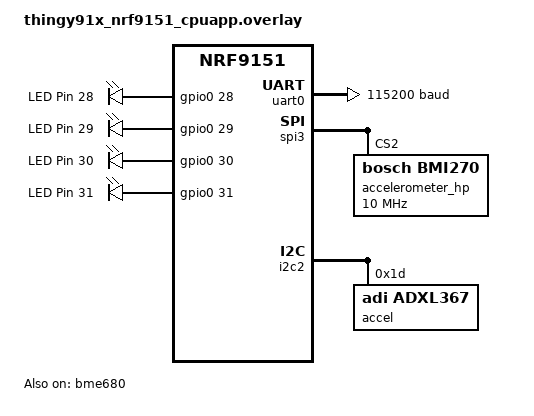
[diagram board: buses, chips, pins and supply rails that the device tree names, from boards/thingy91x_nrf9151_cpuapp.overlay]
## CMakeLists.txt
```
cmake_minimum_required(VERSION 3.20.0)
find_package(Zephyr REQUIRED HINTS $ENV{ZEPHYR_BASE})
project(BLE_NRF9151)
# FILE(GLOB app_sources src/*.c)

# Clean simple main for nRF5340 binary protocol
# target_sources(app PRIVATE src/main_clean.c)
# NORDIC SDK APP START
# target_sources(app PRIVATE ${app_sources})

# target_sources(app PRIVATE src/gps_coap.c)
target_sources(app PRIVATE src/mqtt_connection.c)
target_sources(app PRIVATE src/main_clean.c)
# NORDIC SDK APP END
```

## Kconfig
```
menu "Zephyr"
source "Kconfig.zephyr"
endmenu

config APP_TRIGGER
	bool "Print sensor values on trigger"
	default y


config MQTT_PUB_TOPIC
	string "MQTT publish topic"
	default "devacademy/publish/topic"

config MQTT_SUB_TOPIC
	string "MQTT subscribe topic"
	default "devacademy/subscribe/topic"

config MQTT_CLIENT_ID
	string "MQTT Client ID"
	help
	  Use a custom Client ID string. If not set, the client ID will be
	  generated based on IMEI number (for nRF91 Series based targets) or
	  randomly (for other platforms).
	default ""

config MQTT_BROKER_HOSTNAME
	string "MQTT broker hostname"
	default "mqtt.nordicsemi.academy"

config MQTT_BROKER_PORT
	int "MQTT broker port"
	default 1883

config MQTT_MESSAGE_BUFFER_SIZE
	int "MQTT message buffer size"
	default 128

config MQTT_PAYLOAD_BUFFER_SIZE
	int "MQTT payload buffer size"
	default 128

config BUTTON_EVENT_PUBLISH_MSG
	string "The message to publish on a button event"
	default "Hi from nRF91 Series device"

config TURN_LED_ON_CMD
	string "Command to turn on LED"
	default "LED1ON"

config TURN_LED_OFF_CMD
	string "Command to turn off LED"
	default "LED1OFF"

config BUTTON_EVENT_BTN_NUM
	int "The button number"
	default 1

config MQTT_RECONNECT_DELAY_S
	int "Seconds to delay before attempting to reconnect to the broker."
	default 60

config MQTT_TLS_SEC_TAG
	int "TLS credentials security tag"
	default 24

config MQTT_TLS_SESSION_CACHING
	bool "Enable TLS session caching"

config MQTT_TLS_PEER_VERIFY
	int "Set peer verification level"
	default 2
	help
		Set to 0 for VERIFY_NONE, 1 for VERIFY_OPTIONAL, and 2 for
		VERIFY_REQUIRED.

config MQTT_PUB_TOPIC_BME680
    string "MQTT publish topic for BME680"
    default "devacademy/publish/bme680"

config MQTT_PUB_TOPIC_BMI270
    string "MQTT publish topic for BMI270"
    default "devacademy/publish/bmi270"

config MQTT_SUB_TOPIC_BME680
    string "MQTT subscribe topic for BME680"
    default "devacademy/subscribe/bme680"

config MQTT_SUB_TOPIC_BMI270
    string "MQTT subscribe topic for BMI270"
    default "devacademy/subscribe/bmi270"

# * GPS

config TRACKER_VERSION_MAJOR
	int "Major verison number"
	default 0

config TRACKER_VERSION_MINOR
	int "Minor verison number"
	default 2

config TRACKER_VERSION_PATCH
	int "Patch verison number"
	default 1

config COAP_DEVICE_NAME
	string "Device resource name - this will be the device name on the CoAP server"
	default "cali.test.nrf91"

config COAP_POST_RESOURCE
	string "Parent CoAP resource - this is the parent resource of your device resource name"
	default "echo"

config COAP_SERVER_HOSTNAME
	string "CoAP server hostname"
	default "californium.eclipseprojects.io"

config COAP_SERVER_PORT
	int "CoAP server port"
	default 5684
	
config COAP_SERVER_PSK
	string "Server PSK"
	default "2e666f726e69756d"

config TRACKER_PERIODIC_INTERVAL
	int "Fix interval for periodic GPS fixes. This determines your tracking frequency"
	range 10 65535
	default 120
	help
	  Fix interval (in seconds) for periodic fixes.

config TRACKER_PERIODIC_TIMEOUT
	int "Fix timeout for periodic GPS fixes"
	range 0 65535
	default 600
	help
	  Fix timeout (in seconds) for periodic fixes.
	  If set to zero, GNSS is allowed to run indefinitely until a valid PVT estimate is produced.

config GNSS_LOW_ACCURACY
	bool "Allow low accuracy fixes."
	help
	  Helps with faster fixes.GNSS demonstrates a looser acceptance criterion for a fix.

config GNSS_HIGH_ACCURACY_TIMING_SOURCE
	bool "Use Crystal oscillator"
	help
	  Use crystal oscillator (TCXO) timing source for the GNSS interface 
	  instead of the default Real time clock (RTC).TCXO has higher power consumption than RTC

module = APP
module-str = APP
source "subsys/logging/Kconfig.template.log_config"
```

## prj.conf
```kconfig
# Simple configuration for nRF9151 LED test
CONFIG_GPIO=y
CONFIG_SERIAL=y
CONFIG_UART_INTERRUPT_DRIVEN=y
CONFIG_LOG=y

# MCUboot configuration required for Thingy:91 X
CONFIG_BOOTLOADER_MCUBOOT=y

# * BME680 sensor configuration - using standard Zephyr driver
CONFIG_SENSOR=y
CONFIG_SENSOR_INFO=y
CONFIG_BME680=y
# CONFIG_BME68X_IAQ=y  # Not available in standard driver

# Settings - Used to store real-time device configuration to flash.
CONFIG_SETTINGS=y
CONFIG_SETTINGS_FCB=y
CONFIG_FCB=y
CONFIG_FLASH=y
CONFIG_FLASH_PAGE_LAYOUT=y
CONFIG_FLASH_MAP=y
CONFIG_STREAM_FLASH=y
CONFIG_MPU_ALLOW_FLASH_WRITE=y

CONFIG_CONSOLE=y
CONFIG_ASSERT=y
CONFIG_REBOOT=y
CONFIG_FPU=y

# Newlib
CONFIG_NEWLIB_LIBC=y

# Memory
CONFIG_MAIN_STACK_SIZE=16384
CONFIG_HEAP_MEM_POOL_SIZE=16384

# Logging configuration
CONFIG_APP_LOG_LEVEL_INF=y

# Basic I/O
CONFIG_STDOUT_CONSOLE=y
CONFIG_I2C=y

# Core + console
CONFIG_SPI=y
CONFIG_UART_CONSOLE=y
CONFIG_PRINTK=y

# Sensors
CONFIG_ADXL367=y
CONFIG_BMI270=y
CONFIG_SENSOR_LOG_LEVEL_INF=y

# Toolchain / libc
CONFIG_CPP=y
CONFIG_GLIBCXX_LIBCPP=y
CONFIG_NEWLIB_LIBC_FLOAT_PRINTF=y

# Drivers
CONFIG_I2C_NRFX=y
CONFIG_SPI_NRFX=y
CONFIG_GPIO_NRFX=y

# * MQTT configuration

# Button and LED support
CONFIG_DK_LIBRARY=y

# Networking
CONFIG_NETWORKING=y
CONFIG_NET_NATIVE=n
CONFIG_NET_SOCKETS=y
CONFIG_NET_SOCKETS_OFFLOAD=y
CONFIG_POSIX_API=y

CONFIG_SYSTEM_WORKQUEUE_STACK_SIZE=8192


# # MQTT/TLS buffers (maximizados para HiveMQ Cloud sobre TLS)
CONFIG_MQTT_MESSAGE_BUFFER_SIZE=4096
CONFIG_MQTT_PAYLOAD_BUFFER_SIZE=4096

# Modem library
CONFIG_NRF_MODEM_LIB=y

# STEP 2.3 - Enable the modem key management library
CONFIG_MODEM_KEY_MGMT=y

# LTE link control
CONFIG_LTE_LINK_CONTROL=y
CONFIG_LTE_NETWORK_MODE_LTE_M_NBIOT=y

# # MQTT
CONFIG_MQTT_LIB=y
CONFIG_MQTT_CLEAN_SESSION=y
# STEP 2.1 - Enable TLS for the MQTT library
CONFIG_MQTT_LIB_TLS=y

# # Application
CONFIG_MQTT_PUB_TOPIC="devacademy/publish/topic"
CONFIG_MQTT_SUB_TOPIC="devacademy/subscribe/topic"
CONFIG_MQTT_PUB_TOPIC_BME680="devacademy/publish/bme680"
CONFIG_MQTT_PUB_TOPIC_BMI270="devacademy/publish/bmi270"
CONFIG_MQTT_SUB_TOPIC_BME680="devacademy/subscribe/bme680"
CONFIG_MQTT_SUB_TOPIC_BMI270="devacademy/subscribe/bmi270"
CONFIG_BUTTON_EVENT_PUBLISH_MSG="Hi from nRF91 Series device"
CONFIG_MQTT_BROKER_HOSTNAME="348a449ebec442358d59a2eb048341c4.s1.eu.hivemq.cloud"
# STEP 2.2 - Change the MQTT broker port
CONFIG_MQTT_BROKER_PORT=8883
CONFIG_MQTT_CLIENT_ID="SUPERSSS_CLIENT_ID"

# * GPS/CoAP configuration

# LTE link control
CONFIG_LTE_NETWORK_MODE_LTE_M_NBIOT_GPS=y
CONFIG_LTE_LC_EDRX_MODULE=y
CONFIG_LTE_LC_PSM_MODULE=y

# AT commands interface
CONFIG_AT_HOST_LIBRARY=n

# CoAP
CONFIG_COAP=y

# Configuración para enviar datos a coap://34.10.144.44:5683/
CONFIG_COAP_SERVER_HOSTNAME="34.10.144.44"
CONFIG_COAP_SERVER_PORT=5683
CONFIG_COAP_POST_RESOURCE=""
CONFIG_COAP_DEVICE_NAME="cellfund-test"
```

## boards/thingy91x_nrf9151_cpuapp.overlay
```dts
/*
 * Device Tree Overlay for nRF9151 LED Control
 * Trying different pins for LED - P0.28, P0.29, P0.30, P0.31
 */

/ {
    aliases {
        led0 = &led0;
        led1 = &led1;  
        led2 = &led2;
        led3 = &led3;
    };
    
    leds {
        compatible = "gpio-leds";
        led0: led_0 {
            gpios = <&gpio0 28 GPIO_ACTIVE_HIGH>;
            label = "LED Pin 28";
        };
        led1: led_1 {
            gpios = <&gpio0 29 GPIO_ACTIVE_HIGH>;
            label = "LED Pin 29";
        };
        led2: led_2 {
            gpios = <&gpio0 30 GPIO_ACTIVE_HIGH>;
            label = "LED Pin 30";
        };
        led3: led_3 {
            gpios = <&gpio0 31 GPIO_ACTIVE_HIGH>;
            label = "LED Pin 31";
        };
    };
};

/* UART0 configuration for nRF5340 communication */
&uart0 {
    status = "okay";
    current-speed = <115200>;
};

/* Disable other UARTs to avoid conflicts */
&uart1 {
    status = "disabled";
};

&uart2 {
    status = "disabled";
};

/* GPIO configuration */
&gpio0 {
    status = "okay";
};

&bme680 {
        status = "okay";
};

&pinctrl {
    spi3_bmi270_default: spi3_bmi270_default {
        group1 {
            psels = <
                NRF_PSEL(SPIM_SCK,  0, 14)
                NRF_PSEL(SPIM_MOSI, 0, 13)
                NRF_PSEL(SPIM_MISO, 0, 12)
            >;
        };
    };

    spi3_bmi270_sleep: spi3_bmi270_sleep {
        group1 {
            psels = <
                NRF_PSEL(SPIM_SCK,  0, 14)
                NRF_PSEL(SPIM_MOSI, 0, 13)
                NRF_PSEL(SPIM_MISO, 0, 12)
            >;
            low-power-enable;
        };
    };
};

&spi3 {
    accelerometer_hp: bmi270@2 {
            compatible = "bosch,bmi270";
            status = "okay";
            reg = <2>;
            spi-max-frequency = <DT_FREQ_M(10)>;
        };
};

/* keep the on-board ADXL367 on I²C2 “as is” ----------------------------- */
&i2c2 {
    accel: accelerometer_lp: adxl367@1d {
        status     = "okay";
        compatible = "adi,adxl367";
        reg        = <0x1d>;
        odr        = <3>;
    };
};
```

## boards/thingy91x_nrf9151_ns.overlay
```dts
/*
 * Device Tree Overlay for nRF9151 LED Control + BME680 Sensor
 */

/ {
    aliases {
        led0 = &led0;
    };
    
    leds {
        compatible = "gpio-leds";
        led0: led_0 {
            gpios = <&gpio0 29 GPIO_ACTIVE_HIGH>;
            label = "LED Pin 29";
        };
    };
};

/* UART0 configuration for nRF5340 communication */
&uart0 {
    status = "okay";
    current-speed = <115200>;
};

/* BME680 sensor - exactly like the working example */
&bme680 {
    status = "okay";
};


&pinctrl {
    spi3_bmi270_default: spi3_bmi270_default {
        group1 {
            psels = <
                NRF_PSEL(SPIM_SCK,  0, 14)
                NRF_PSEL(SPIM_MOSI, 0, 13)
                NRF_PSEL(SPIM_MISO, 0, 12)
            >;
        };
    };

    spi3_bmi270_sleep: spi3_bmi270_sleep {
        group1 {
            psels = <
                NRF_PSEL(SPIM_SCK,  0, 14)
                NRF_PSEL(SPIM_MOSI, 0, 13)
                NRF_PSEL(SPIM_MISO, 0, 12)
            >;
            low-power-enable;
        };
    };
};

&spi3 {
    accelerometer_hp: bmi270@2 {
            compatible = "bosch,bmi270";
            status = "okay";
            reg = <2>;
            spi-max-frequency = <DT_FREQ_M(10)>;
        };
};

/* keep the on-board ADXL367 on I²C2 “as is” ----------------------------- */
&i2c2 {
    accel: accelerometer_lp: adxl367@1d {
        status     = "okay";
        compatible = "adi,adxl367";
        reg        = <0x1d>;
        odr        = <3>;
    };
};
```

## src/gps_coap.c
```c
#include <stdio.h>
#include <string.h>
#include <ncs_version.h>
#include <zephyr/kernel.h>
#include <zephyr/net/coap.h>
#include <zephyr/net/socket.h>
#include <modem/nrf_modem_lib.h>
#include <modem/lte_lc.h>
#include <zephyr/net/tls_credentials.h>
#include <modem/modem_key_mgmt.h>
#include <dk_buttons_and_leds.h>
#include <nrf_modem_gnss.h>

#include <zephyr/random/random.h>

#include "gps_coap.h"
#include <zephyr/logging/log.h>
LOG_MODULE_REGISTER(gps_coap, LOG_LEVEL_INF);
// Definitions for GNSS & CoAP globals
int sock;
struct sockaddr_storage server;
uint16_t next_token;
K_SEM_DEFINE(gnss_fix_sem, 0, 1);
uint8_t coap_buf[APP_COAP_MAX_MSG_LEN];
uint8_t coap_sendbuf[64];
struct nrf_modem_gnss_pvt_data_frame current_pvt;
struct nrf_modem_gnss_pvt_data_frame last_pvt;
enum tracker_status device_status;
bool test_mode = true;

static void print_fix_data(struct nrf_modem_gnss_pvt_data_frame *pvt_data)
void print_fix_data(struct nrf_modem_gnss_pvt_data_frame *pvt_data)
{
	printk("Latitude:       %.06f\n", pvt_data->latitude);
	printk("Longitude:      %.06f\n", pvt_data->longitude);
	printk("Altitude:       %.01f m\n", (double)pvt_data->altitude);
	printk("Time (UTC):     %02u:%02u:%02u.%03u\n",
		   pvt_data->datetime.hour,
		   pvt_data->datetime.minute,
		   pvt_data->datetime.seconds,
		   pvt_data->datetime.ms);
}

static void gnss_event_handler(int event)
void gnss_event_handler(int event)
{
	int err;
	switch (event) {
	case NRF_MODEM_GNSS_EVT_PVT:
		LOG_INF("Searching for GNSS Satellites....\n\r");
		device_status = status_searching;
		break;
	case NRF_MODEM_GNSS_EVT_FIX:
		LOG_INF("GNSS fix event\n\r");
		break;
	case NRF_MODEM_GNSS_EVT_PERIODIC_WAKEUP:
		LOG_INF("GNSS woke up in periodic mode\n\r");
		break;
	case NRF_MODEM_GNSS_EVT_BLOCKED:
		LOG_INF("GNSS is blocked by LTE event\n\r");
		break;
	case NRF_MODEM_GNSS_EVT_SLEEP_AFTER_FIX:
		LOG_INF("GNSS enters sleep because fix was achieved in periodic mode\n\r");
		device_status = status_fixed;
		err = nrf_modem_gnss_read(&last_pvt, sizeof(last_pvt), NRF_MODEM_GNSS_DATA_PVT);
		if (err == 0){
			current_pvt = last_pvt;
			print_fix_data(&current_pvt);
			k_sem_give(&gnss_fix_sem);
		}
		break;
	case NRF_MODEM_GNSS_EVT_SLEEP_AFTER_TIMEOUT:
		LOG_INF("GNSS enters sleep because fix retry timeout was reached\n\r");
		break;

	default:

		break;
	}
}

static int gnss_init_and_start(void)
int gnss_init_and_start(void)
{
#if defined(CONFIG_GNSS_HIGH_ACCURACY_TIMING_SOURCE)
	if (nrf_modem_gnss_timing_source_set(NRF_MODEM_GNSS_TIMING_SOURCE_TCXO)){
		LOG_ERR("Failed to set TCXO timing source");
		return -1;
	}
#endif
#if defined(CONFIG_GNSS_LOW_ACCURACY) || defined (CONFIG_BOARD_THINGY91_NRF9160_NS)
	uint8_t use_case;
	use_case = NRF_MODEM_GNSS_USE_CASE_MULTIPLE_HOT_START | NRF_MODEM_GNSS_USE_CASE_LOW_ACCURACY;
	if (nrf_modem_gnss_use_case_set(use_case) != 0) {
		LOG_ERR("Failed to set low accuracy use case");
		return -1;
	}
#endif
	/* Configure GNSS event handler . */
	if (nrf_modem_gnss_event_handler_set(gnss_event_handler) != 0) {
		LOG_ERR("Failed to set GNSS event handler");
		return -1;
	}

	if (nrf_modem_gnss_fix_interval_set(CONFIG_TRACKER_PERIODIC_INTERVAL) != 0) {
		LOG_ERR("Failed to set GNSS fix interval");
		return -1;
	}

	if (nrf_modem_gnss_fix_retry_set(CONFIG_TRACKER_PERIODIC_TIMEOUT) != 0) {
		LOG_ERR("Failed to set GNSS fix retry");
		return -1;
	}

	if (nrf_modem_gnss_start() != 0) {
		LOG_ERR("Failed to start GNSS");
		return -1;
	}
	if (nrf_modem_gnss_prio_mode_enable() != 0){
		LOG_ERR("Error setting GNSS priority mode");
		return -1;
	}
	return 0;
}

/**@brief Resolves the configured hostname. */
static int server_resolve(void)
int server_resolve(void)
{
	int err;
	struct addrinfo *result;
	struct addrinfo hints = {
		.ai_family = AF_INET,
		.ai_socktype = SOCK_DGRAM
	};
	char ipv4_addr[NET_IPV4_ADDR_LEN];

	err = getaddrinfo(CONFIG_COAP_SERVER_HOSTNAME, NULL, &hints, &result);
	if (err != 0) {
		LOG_ERR("ERROR: getaddrinfo failed %d\n", err);
		return -EIO;
	}

	if (result == NULL) {
		LOG_ERR("ERROR: Address not found\n");
		return -ENOENT;
	}

	/* IPv4 Address. */
	struct sockaddr_in *server4 = ((struct sockaddr_in *)&server);

	server4->sin_addr.s_addr =
		((struct sockaddr_in *)result->ai_addr)->sin_addr.s_addr;
	server4->sin_family = AF_INET;
	server4->sin_port = htons(CONFIG_COAP_SERVER_PORT);

	inet_ntop(AF_INET, &server4->sin_addr.s_addr, ipv4_addr,
		  sizeof(ipv4_addr));
	LOG_INF("IPv4 Address found %s\n", ipv4_addr);

	/* Free the address. */
	freeaddrinfo(result);

	return 0;
}

/**@brief Initialize the CoAP client */
static int server_connect(void)
int server_connect(void)
{
	int err;

	// sock = socket(AF_INET, SOCK_DGRAM, IPPROTO_DTLS_1_2);

	sock = socket(AF_INET, SOCK_DGRAM, IPPROTO_UDP);
	if (sock < 0) {
		LOG_ERR("Failed to create CoAP socket: %d.\n", errno);
		return -errno;
	}


   // Skipping connect() for UDP offloaded socket as not supported; will use sendto()

	/* Randomize token. */
	next_token = sys_rand32_get();

	return 0;
}

/**@brief Handles responses from the remote CoAP server. */
static int client_handle_get_response(uint8_t *buf, int received)
int client_handle_get_response(uint8_t *buf, int received)
{
	int err;
	struct coap_packet reply;
	const uint8_t *payload;
	uint16_t payload_len;
	uint8_t token[8];
	uint16_t token_len;
	static uint8_t temp_buf[128];

	err = coap_packet_parse(&reply, buf, received, NULL, 0);
	if (err < 0) {
		LOG_ERR("Malformed response received: %d\n", err);
		return err;
	}

	payload = coap_packet_get_payload(&reply, &payload_len);
	token_len = coap_header_get_token(&reply, token);

	if ((token_len != sizeof(next_token)) ||
		(memcmp(&next_token, token, sizeof(next_token)) != 0)) {
		LOG_ERR("Invalid token received: 0x%02x%02x\n",
			   token[1], token[0]);
		return 0;
	}

	if (payload_len > 0) {
		snprintf(temp_buf, MIN(payload_len + 1, sizeof(temp_buf)), "%s", payload);
	} else {
		strcpy(temp_buf, "EMPTY");
	}

	LOG_INF("CoAP response: Code 0x%x, Token 0x%02x%02x, Payload: %s",
		   coap_header_get_code(&reply), token[1], token[0], temp_buf);
	return 0;
}

static void lte_handler(const struct lte_lc_evt *const evt)
{
	switch (evt->type) {
	case LTE_LC_EVT_NW_REG_STATUS:
		if ((evt->nw_reg_status != LTE_LC_NW_REG_REGISTERED_HOME) &&
			 (evt->nw_reg_status != LTE_LC_NW_REG_REGISTERED_ROAMING)) {
			break;
		}

		LOG_INF("Network registration status: %s\n",
			evt->nw_reg_status == LTE_LC_NW_REG_REGISTERED_HOME ?
			"Connected - home network" : "Connected - roaming\n");
		k_sem_give(&lte_connected);
		break;
	case LTE_LC_EVT_PSM_UPDATE:
		LOG_INF("PSM parameter update: TAU: %d, Active time: %d\n",
			evt->psm_cfg.tau, evt->psm_cfg.active_time);
		break;
	case LTE_LC_EVT_EDRX_UPDATE: {
		char log_buf[60];
		ssize_t len;

		len = snprintf(log_buf, sizeof(log_buf),
				   "eDRX parameter update: eDRX: %f, PTW: %f\n",
				   (double)evt->edrx_cfg.edrx, (double)evt->edrx_cfg.ptw);
		if (len > 0) {
			LOG_INF("%s\n", log_buf);
		}
		break;
	}
	case LTE_LC_EVT_RRC_UPDATE:
		LOG_INF("RRC mode: %s\n",
			evt->rrc_mode == LTE_LC_RRC_MODE_CONNECTED ?
			"Connected" : "Idle\n");
		break;
	case LTE_LC_EVT_CELL_UPDATE:
		LOG_INF("LTE cell changed: Cell ID: %d, Tracking area: %d\n",
			   evt->cell.id, evt->cell.tac);
		break;
	default:
		break;
	}
}


static int modem_configure(void)
{
	int err;

	LOG_INF("Initializing modem library");

	err = nrf_modem_lib_init();
	if (err) {
		LOG_ERR("Failed to initialize the modem library, error: %d", err);
		return err;
	}

	err = modem_key_mgmt_write(SEC_TAG, MODEM_KEY_MGMT_CRED_TYPE_IDENTITY, CONFIG_COAP_DEVICE_NAME, strlen(CONFIG_COAP_DEVICE_NAME));
	if (err) {
		LOG_ERR("Failed to write identity: %d\n", err);
		return err;
	}

	err = modem_key_mgmt_write(SEC_TAG, MODEM_KEY_MGMT_CRED_TYPE_PSK, CONFIG_COAP_SERVER_PSK, strlen(CONFIG_COAP_SERVER_PSK));
	if (err) {
		LOG_ERR("Failed to write identity: %d\n", err);
		return err;
	}

	
	LOG_INF("Connecting to LTE network");
	err = lte_lc_connect_async(lte_handler);
	if (err) {
		LOG_ERR("Error in lte_lc_connect_async, error: %d", err);
		return err;
	}


	/* Decativate LTE and enable GNSS. */
	err = lte_lc_func_mode_set(LTE_LC_FUNC_MODE_DEACTIVATE_LTE);
	if (err) {
		LOG_ERR("Failed to decativate LTE and enable GNSS functional mode");
		return err;
	}

	return 0;
}


static int client_post_send(void)
int client_post_send(void)
{
	int err, ret;
	struct coap_packet request;

	next_token++;

	err = coap_packet_init(&request, coap_buf, sizeof(coap_buf),
				   APP_COAP_VERSION, COAP_TYPE_CON,
				   sizeof(next_token), (uint8_t *)&next_token,
				   COAP_METHOD_POST, coap_next_id());
	if (err < 0) {
		LOG_ERR("Failed to create CoAP request, %d\n", err);
		return err;
	}

	err = coap_packet_append_option(&request, COAP_OPTION_URI_PATH,
					(uint8_t *)CONFIG_COAP_POST_RESOURCE,
					strlen(CONFIG_COAP_POST_RESOURCE));
	if (err < 0) {
		LOG_ERR("Failed to encode CoAP option, %d\n", err);
		return err;
	}

   err = coap_append_option_int(&request, COAP_OPTION_CONTENT_FORMAT,
								COAP_CONTENT_FORMAT_TEXT_PLAIN);
   if (err < 0) {
	  LOG_ERR("Failed to encode CoAP CONTENT_FORMAT option, %d", err);
	  return err;
   }

   err = coap_packet_append_option(&request, COAP_OPTION_URI_QUERY,
								   (uint8_t *)"keep",
								   strlen("keep"));
   if (err < 0) {
	  LOG_ERR("Failed to encode CoAP URI-QUERY option 'keep', %d", err);
	  return err;
   }

	err = coap_packet_append_payload_marker(&request);
	if (err < 0) {
		LOG_ERR("Failed to append payload marker, %d\n", err);
		return err;
	}

   if (test_mode) {
	   // Payload falso para pruebas
	   const char *fake_payload = "19.123456,-99.123456\n5.0 m\n2025-07-29 14:23:45";
	   ret = strlen(fake_payload);
	   memcpy(coap_sendbug, fake_payload, ret+1);
   } else {
	   ret = snprintf(coap_sendbug, sizeof(coap_sendbug), "%.06f,%.06f\n%.01f m\n%04u-%02u-%02u %02u:%02u:%02u",
		   current_pvt.latitude, current_pvt.longitude, (double)current_pvt.accuracy,
		   current_pvt.datetime.year, current_pvt.datetime.month, current_pvt.datetime.day,
		   current_pvt.datetime.hour, current_pvt.datetime.minute, last_pvt.datetime.seconds);
	   if (ret < 0) {
		   LOG_ERR("snprintf failed to format string, %d\n", ret);
		   return ret;
	   }
   }
   err = coap_packet_append_payload(&request, (uint8_t *)coap_sendbug, ret);
   if (err < 0) {
	   LOG_ERR("Failed to append payload, %d\n", err);
	   return err;
   }

	// Enviar con sendto para UDP offloaded: especificar dirección destino
	err = sendto(sock, request.data, request.offset, 0,
				 (struct sockaddr *)&server, sizeof(struct sockaddr_in));
	if (err < 0) {
		LOG_ERR("Failed to send CoAP request, %d\n", errno);
		return -errno;
	}

	LOG_INF("CoAP request sent: token 0x%04x\n", next_token);

	return 0;
}
static void button_handler(uint32_t button_state, uint32_t has_changed)
{
	static bool toogle = 1;
	if (has_changed & DK_BTN1_MSK && button_state & DK_BTN1_MSK) {
		if (toogle == 1) {
			dk_set_led_on(device_status);
		} 
		else {
			dk_set_led_off(DK_LED1);
			dk_set_led_off(DK_LED2);
			dk_set_led_off(DK_LED3);
		}
		toogle = !toogle;
	}
}
```

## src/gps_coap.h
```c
#ifndef GPS_COAP_H
#define GPS_COAP_H

// GNSS & CoAP Integration
#include <zephyr/net/coap.h>
#include <zephyr/net/tls_credentials.h>
#include <modem/modem_key_mgmt.h>
#include <nrf_modem_gnss.h>

#define SEC_TAG 12
#define APP_COAP_SEND_INTERVAL_MS 60000
#define APP_COAP_MAX_MSG_LEN 1280
#define APP_COAP_VERSION 1

/* GNSS & CoAP globals declared in source */
extern int sock;
extern struct sockaddr_storage server;
extern uint16_t next_token;
extern struct k_sem gnss_fix_sem;
extern uint8_t coap_buf[APP_COAP_MAX_MSG_LEN];
extern uint8_t coap_sendbuf[64];
extern struct nrf_modem_gnss_pvt_data_frame current_pvt;
extern struct nrf_modem_gnss_pvt_data_frame last_pvt;
extern enum tracker_status {status_nolte = DK_LED1, status_searching = DK_LED2, status_fixed = DK_LED3} device_status;

/* GNSS & CoAP function prototypes */
void print_fix_data(struct nrf_modem_gnss_pvt_data_frame *pvt_data);
void gnss_event_handler(int event);
int gnss_init_and_start(void);
int server_resolve(void);
int server_connect(void);
int client_handle_get_response(uint8_t *buf, int received);
int client_post_send(void);

// Variable para activar/desactivar el modo de prueba (true = payload falso, false = comportamiento normal)
extern bool test_mode;

#endif // GPS_COAP_H
```

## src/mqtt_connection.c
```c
#include <stdio.h>
#include <string.h>
#include <ncs_version.h>

#include <zephyr/logging/log.h>
#include <zephyr/kernel.h>
#include <zephyr/net/socket.h>
#include <zephyr/net/mqtt.h>
#include <nrf_modem_at.h>

#include <dk_buttons_and_leds.h>
#include "mqtt_connection.h"

#include <zephyr/random/random.h>
#include <modem/modem_key_mgmt.h>
#include "certificate.h"

#if NCS_VERSION_NUMBER < 0x20600
#include <zephyr/random/rand32.h>
#else 
#include <zephyr/random/random.h>
#endif

static uint8_t rx_buffer[CONFIG_MQTT_MESSAGE_BUFFER_SIZE];
static uint8_t tx_buffer[CONFIG_MQTT_MESSAGE_BUFFER_SIZE];
static uint8_t payload_buf[CONFIG_MQTT_PAYLOAD_BUFFER_SIZE];

static struct sockaddr_storage broker;

LOG_MODULE_DECLARE(nrf91);

static void clean_modem_certs(void) {
    int err = modem_key_mgmt_delete(CONFIG_MQTT_TLS_SEC_TAG, MODEM_KEY_MGMT_CRED_TYPE_CA_CHAIN);
    if (err) {
        LOG_WRN("Error deleting old CA cert: %d", err);
    } else {
        LOG_INF("Old CA cert deleted");
    }
}

int certificate_provision(void)
{
    int err = 0;
    bool exists;
    clean_modem_certs();
    err = modem_key_mgmt_exists(CONFIG_MQTT_TLS_SEC_TAG,
                                MODEM_KEY_MGMT_CRED_TYPE_CA_CHAIN,
                                &exists);
    if (err) {
        LOG_ERR("Failed to check for certificates err %d\n", err);
        return err;
    }
    if (exists) {
        err = modem_key_mgmt_cmp(CONFIG_MQTT_TLS_SEC_TAG,
                                 MODEM_KEY_MGMT_CRED_TYPE_CA_CHAIN,
                                 CA_CERTIFICATE, 
                                 strlen(CA_CERTIFICATE));
        LOG_INF("Comparing credentials: %s", err ? "Mismatch" : "Match");
        if (!err) {
            return 0;
        }
    }
    LOG_INF("Provisioning certificates");
    err = modem_key_mgmt_write(CONFIG_MQTT_TLS_SEC_TAG,
                               MODEM_KEY_MGMT_CRED_TYPE_CA_CHAIN,
                               CA_CERTIFICATE,
                               strlen(CA_CERTIFICATE));
    if (err) {
        LOG_ERR("Failed to provision CA certificate: %d", err);
        return err;
    }
    return err;
}

static int get_received_payload(struct mqtt_client *c, size_t length)
{
    int ret;
    int err = 0;
    if (length > sizeof(payload_buf)) {
        err = -EMSGSIZE;
    }
    while (length > sizeof(payload_buf)) {
        ret = mqtt_read_publish_payload_blocking(
                c, payload_buf, (length - sizeof(payload_buf)));
        if (ret == 0) {
            return -EIO;
        } else if (ret < 0) {
            return ret;
        }
        length -= ret;
    }
    ret = mqtt_readall_publish_payload(c, payload_buf, length);
    if (ret) {
        return ret;
    }
    return err;
}

static int subscribe(struct mqtt_client *const c)
{
    struct mqtt_topic topics[2] = {
        {
            .topic = {
                .utf8 = CONFIG_MQTT_SUB_TOPIC_BME680,
                .size = strlen(CONFIG_MQTT_SUB_TOPIC_BME680)
            },
            .qos = MQTT_QOS_1_AT_LEAST_ONCE
        },
        {
            .topic = {
                .utf8 = CONFIG_MQTT_SUB_TOPIC_BMI270,
                .size = strlen(CONFIG_MQTT_SUB_TOPIC_BMI270)
            },
            .qos = MQTT_QOS_1_AT_LEAST_ONCE
        }
    };
    const struct mqtt_subscription_list subscription_list = {
        .list = topics,
        .list_count = 2,
        .message_id = 1234
    };
    LOG_INF("Subscribing to: %s and %s", topics[0].topic.utf8, topics[1].topic.utf8);
    return mqtt_subscribe(c, &subscription_list);
}

static void data_print(uint8_t *prefix, uint8_t *data, size_t len)
{
    char buf[len + 1];
    memcpy(buf, data, len);
    buf[len] = 0;
    LOG_INF("%s%s", (char *)prefix, (char *)buf);
}

int data_publish(struct mqtt_client *c, enum mqtt_qos qos,
    uint8_t *data, size_t len, const char *topic)
{
    struct mqtt_publish_param param;
    param.message.topic.qos = qos;
    param.message.topic.topic.utf8 = (char *)topic;
    param.message.topic.topic.size = strlen(topic);
    param.message.payload.data = data;
    param.message.payload.len = len;
    param.message_id = sys_rand32_get();
    param.dup_flag = 0;
    param.retain_flag = 0;
    data_print("Publishing: ", data, len);
    LOG_INF("to topic: %s len: %u", topic, (unsigned int)strlen(topic));
    return mqtt_publish(c, &param);
}

void mqtt_evt_handler(struct mqtt_client *const c,
              const struct mqtt_evt *evt)
{
    int err;
    switch (evt->type) {
    case MQTT_EVT_CONNACK:
        if (evt->result != 0) {
            LOG_ERR("MQTT connect failed: %d", evt->result);
            break;
        }
        LOG_INF("MQTT client connected");
        subscribe(c);
        break;
    case MQTT_EVT_DISCONNECT:
        LOG_INF("MQTT client disconnected: %d", evt->result);
        break;
    case MQTT_EVT_PUBLISH:
    {
        const struct mqtt_publish_param *p = &evt->param.publish;
        LOG_INF("MQTT PUBLISH result=%d len=%d",
                evt->result, p->message.payload.len);
        err = get_received_payload(c, p->message.payload.len);
        if (p->message.topic.qos == MQTT_QOS_1_AT_LEAST_ONCE) {
            const struct mqtt_puback_param ack = {
                .message_id = p->message_id
            };
            mqtt_publish_qos1_ack(c, &ack);
        }
        if (err >= 0) {
            data_print("Received: ", payload_buf, p->message.payload.len);
            if(strncmp(payload_buf,CONFIG_TURN_LED_ON_CMD,sizeof(CONFIG_TURN_LED_ON_CMD)-1) == 0){
                dk_set_led_on(LED_CONTROL_OVER_MQTT);
            }
            else if(strncmp(payload_buf,CONFIG_TURN_LED_OFF_CMD,sizeof(CONFIG_TURN_LED_OFF_CMD)-1) == 0){
                dk_set_led_off(LED_CONTROL_OVER_MQTT);
            }
        } else if (err == -EMSGSIZE) {
            LOG_ERR("Received payload (%d bytes) is larger than the payload buffer size (%d) bytes.",
                    p->message.payload.len, sizeof(payload_buf));
        } else {
            LOG_ERR("get_received_payload failed: %d", err);
            LOG_INF("Disconnecting MQTT client...");
            err = mqtt_disconnect(c);
            if (err) {
                LOG_ERR("Could not disconnect: %d", err);
            }
        }
    } break;
    case MQTT_EVT_PUBACK:
        if (evt->result != 0) {
            LOG_ERR("MQTT PUBACK error: %d", evt->result);
            break;
        }
        LOG_INF("PUBACK packet id: %u", evt->param.puback.message_id);
        break;
    case MQTT_EVT_SUBACK:
        if (evt->result != 0) {
            LOG_ERR("MQTT SUBACK error: %d", evt->result);
            break;
        }
        LOG_INF("SUBACK packet id: %u", evt->param.suback.message_id);
        break;
    case MQTT_EVT_PINGRESP:
        if (evt->result != 0) {
            LOG_ERR("MQTT PINGRESP error: %d", evt->result);
        }
        break;
    default:
        LOG_INF("Unhandled MQTT event type: %d", evt->type);
        break;
    }
}

static int broker_init(void)
{
    int err;
    struct addrinfo *result;
    struct addrinfo *addr;
    struct addrinfo hints = {
        .ai_family = AF_INET,
        .ai_socktype = SOCK_STREAM
    };
    err = getaddrinfo(CONFIG_MQTT_BROKER_HOSTNAME, NULL, &hints, &result);
    if (err) {
        LOG_ERR("getaddrinfo failed: %d", err);
        return -ECHILD;
    }
    addr = result;
    while (addr != NULL) {
        if (addr->ai_addrlen == sizeof(struct sockaddr_in)) {
            struct sockaddr_in *broker4 =
                ((struct sockaddr_in *)&broker);
            char ipv4_addr[NET_IPV4_ADDR_LEN];
            broker4->sin_addr.s_addr =
                ((struct sockaddr_in *)addr->ai_addr)
                ->sin_addr.s_addr;
            broker4->sin_family = AF_INET;
            broker4->sin_port = htons(CONFIG_MQTT_BROKER_PORT);
            inet_ntop(AF_INET, &broker4->sin_addr.s_addr,
                      ipv4_addr, sizeof(ipv4_addr));
            LOG_INF("IPv4 Address found %s", (char *)(ipv4_addr));
            break;
        } else {
            LOG_ERR("ai_addrlen = %u should be %u or %u",
                    (unsigned int)addr->ai_addrlen,
                    (unsigned int)sizeof(struct sockaddr_in),
                    (unsigned int)sizeof(struct sockaddr_in6));
        }
        addr = addr->ai_next;
    }
    freeaddrinfo(result);
    return err;
}

static const uint8_t* client_id_get(void)
{
    static uint8_t client_id[MAX(sizeof(CONFIG_MQTT_CLIENT_ID),
                                 CLIENT_ID_LEN)];
    if (strlen(CONFIG_MQTT_CLIENT_ID) > 0) {
        snprintf(client_id, sizeof(client_id), "%s",
                 CONFIG_MQTT_CLIENT_ID);
        goto exit;
    }
    char imei_buf[CGSN_RESPONSE_LENGTH + 1];
    int err;
    err = nrf_modem_at_cmd(imei_buf, sizeof(imei_buf), "AT+CGSN");
    if (err) {
        LOG_ERR("Failed to obtain IMEI, error: %d", err);
        goto exit;
    }
    imei_buf[IMEI_LEN] = '\0';
    snprintf(client_id, sizeof(client_id), "nrf-%.*s", IMEI_LEN, imei_buf);
exit:
    LOG_DBG("client_id = %s", (char *)(client_id));
    return client_id;
}

int client_init(struct mqtt_client *client)
{
    int err;
    mqtt_client_init(client);
    err = broker_init();
    if (err) {
        LOG_ERR("Failed to initialize broker connection");
        return err;
    }
    client->broker = &broker;
    client->evt_cb = mqtt_evt_handler;
    client->client_id.utf8 = client_id_get();
    client->client_id.size = strlen(client->client_id.utf8);
    static struct mqtt_utf8 username = { .utf8 = "Thingy91x", .size = 9 };
    static struct mqtt_utf8 password = { .utf8 = "Thingy91x", .size = 9 };
    client->user_name = &username;
    client->password = &password;
    client->protocol_version = MQTT_VERSION_3_1_1;
    client->rx_buf = rx_buffer;
    client->rx_buf_size = sizeof(rx_buffer);
    client->tx_buf = tx_buffer;
    client->tx_buf_size = sizeof(tx_buffer);
    struct mqtt_sec_config *tls_cfg = &(client->transport).tls.config;
    static sec_tag_t sec_tag_list[] = { CONFIG_MQTT_TLS_SEC_TAG };
    LOG_INF("TLS enabled");
    client->transport.type = MQTT_TRANSPORT_SECURE;
    tls_cfg->peer_verify = CONFIG_MQTT_TLS_PEER_VERIFY;
    tls_cfg->cipher_list = NULL;
    tls_cfg->cipher_count = 0;
    tls_cfg->sec_tag_count = ARRAY_SIZE(sec_tag_list);
    tls_cfg->sec_tag_list = sec_tag_list;
    tls_cfg->hostname = CONFIG_MQTT_BROKER_HOSTNAME;
    tls_cfg->session_cache = IS_ENABLED(CONFIG_MQTT_TLS_SESSION_CACHING) ?
                                TLS_SESSION_CACHE_ENABLED :
                                TLS_SESSION_CACHE_DISABLED;
    return err;
}

int fds_init(struct mqtt_client *c, struct pollfd *fds)
{
    if (c->transport.type == MQTT_TRANSPORT_NON_SECURE) {
        fds->fd = c->transport.tcp.sock;
    } else {
        fds->fd = c->transport.tls.sock;
    }
    fds->events = POLLIN;
    return 0;
}
```

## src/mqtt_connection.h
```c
#ifndef _MQTTCONNECTION_H_
#define _MQTTCONNECTION_H_
#define LED_CONTROL_OVER_MQTT          DK_LED1 /*The LED to control over MQTT*/
#define IMEI_LEN 15
#define CGSN_RESPONSE_LENGTH (IMEI_LEN + 6 + 1) /* Add 6 for \r\nOK\r\n and 1 for \0 */
#define CLIENT_ID_LEN sizeof("nrf-") + IMEI_LEN

/**@brief Initialize the MQTT client structure
 */
int client_init(struct mqtt_client *client);

/**@brief Initialize the file descriptor structure used by poll.
 */
int fds_init(struct mqtt_client *c, struct pollfd *fds);

/**@brief Function to publish data on the configured topic
 */
int data_publish(struct mqtt_client *c, enum mqtt_qos qos,
	uint8_t *data, size_t len, const char *topic);

/**@brief Function to write the server x.509 root certificate to the modem 
 */
int certificate_provision(void);
#endif /* _CONNECTION_H_ */
```
